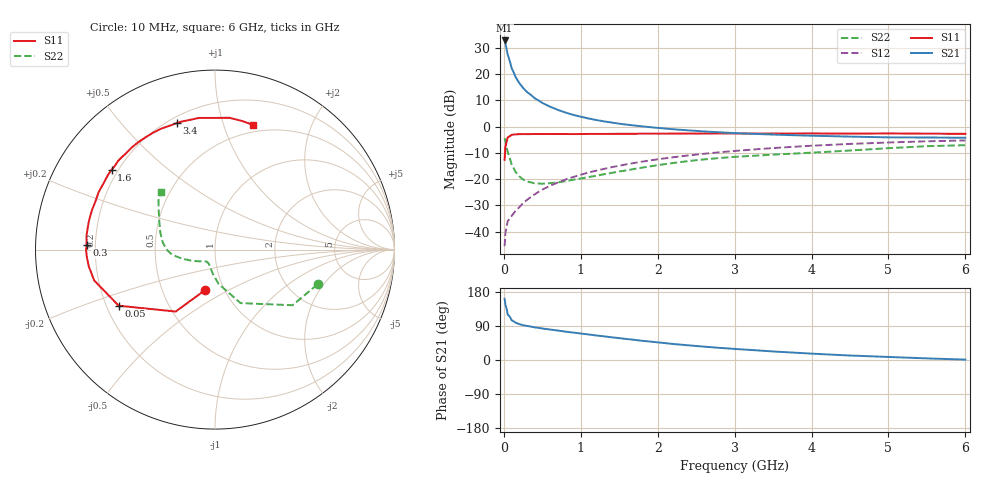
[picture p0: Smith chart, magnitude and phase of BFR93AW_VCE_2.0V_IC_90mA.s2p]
! Infineon Technologies  Discrete & RF Semiconductors
! BFR93AW
! VCE =  2.0 V,  IC =  90 mA
! Common Emitter S-Parameters:  Jan 2017
# GHz  S  MA  R  50
!  f  S11  S21  S12  S22
! GHz  MAG  ANG  MAG  ANG  MAG  ANG  MAG  ANG
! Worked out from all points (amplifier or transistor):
!   77 points, 10 MHz to 6 GHz, reference 50 ohm
!   highest |S21| = 32.7 dB at 10 MHz (marker M1)
!   |S21| within 3 dB of that: start of sweep to 33.69 MHz
!   unconditionally stable (mu >= 1): start of sweep to 15.13 MHz; 99.31 MHz to end of sweep
!   at 130 MHz: K = 1.09, MAG = 24.8 dB, |S12| = -32.9 dB
!   at 2.2 GHz: K = 1.19, MAG = 2.7 dB, |S12| = -11.7 dB
!   at 6 GHz: K = 1.05, MAG = -0.9 dB, |S12| = -5.3 dB
!   S11 on the Smith chart (normalised r, x): 10 MHz: 0.81, -0.39; 50 MHz: 0.25, -0.25; 300 MHz: 0.17, +0.02; 1.6 GHz: 0.18, +0.33; 3.4 GHz: 0.23, +0.72; 6 GHz: 0.43, +1.26
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0.01  0.2321 -103.7  43.33 161.5  0.0053 54.2  0.6033 -18.8
0.02  0.4088 -122.4  38.25 146.2  0.0091 53.5  0.5313 -35.7
0.05  0.6212 -149.8  23.3 120.1  0.0157 45.8  0.3302 -64.5
0.1  0.6948 -165.7  13 105.0  0.0198 51.4  0.1918 -84.0
0.15  0.7096 -172.5  8.887 98.7  0.0245 56.4  0.1384 -94.4
0.2  0.7152 -176.6  6.727 94.8  0.0291 60.9  0.1133 -101.2
0.25  0.7183 -179.7  5.428 91.9  0.035 63.9  0.0983 -106.1
0.3  0.716 177.9  4.545 89.9  0.04 66.7  0.0903 -110.9
0.4  0.72 173.9  3.467 86.1  0.0512 69.1  0.0832 -117.6
0.5  0.7196 170.2  2.811 83.1  0.0631 70.5  0.0817 -123.0
0.6  0.7202 167.3  2.385 80.4  0.0745 71.3  0.0837 -128.0
0.7  0.7197 164.6  2.077 77.8  0.0858 72.1  0.0862 -131.1
0.8  0.7198 161.8  1.848 74.9  0.098 71.7  0.0913 -134.2
0.9  0.718 159.0  1.669 72.4  0.1094 71.0  0.0971 -137.4
1.1  0.7226 153.9  1.425 67.4  0.1332 70.0  0.1092 -143.1
1.6  0.7274 142.3  1.084 55.3  0.1918 65.3  0.1473 -155.6
2.1  0.7317 131.3  0.914 44.5  0.2488 59.4  0.193 -165.4
3.1  0.736 112.2  0.74 27.9  0.3522 46.9  0.27 179.2
3.4  0.7359 106.8  0.712 23.9  0.3799 43.2  0.2864 174.3
4.1  0.7369 95.5  0.663 15.8  0.4383 34.4  0.3239 160.7
5.1  0.7369 82.6  0.621 7.3  0.502 22.5  0.3942 142.8
6  0.7261 73.2  0.611 1.0  0.544 12.8  0.4414 133.0
